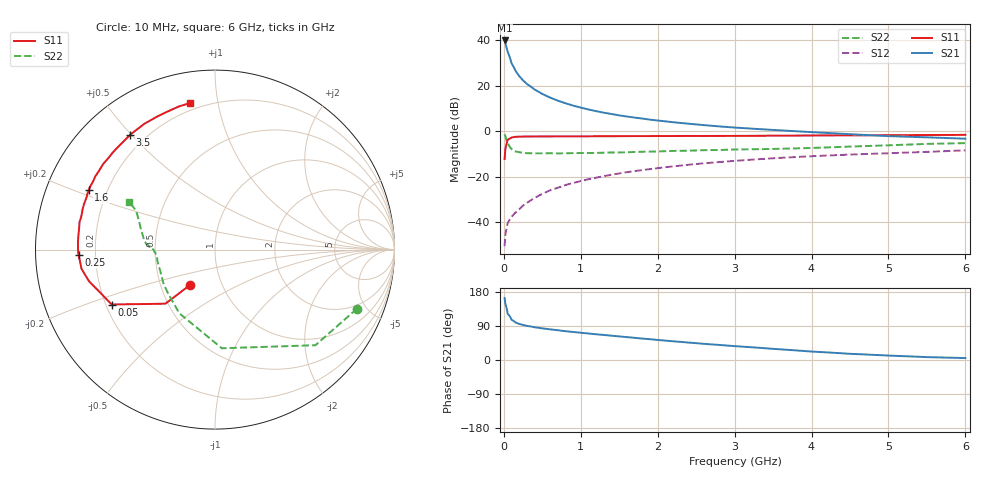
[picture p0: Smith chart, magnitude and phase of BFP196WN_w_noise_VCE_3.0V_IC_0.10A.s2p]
! Infineon Technologies  Discrete & RF Semiconductors
! BFP196WN
! VCE =  3.0 V,  IC = 0.10 A
! Common Emitter S-Parameters:  Jan 2017
# GHz  S  MA  R  50
!  f  S11  S21  S12  S22
! GHz  MAG  ANG  MAG  ANG  MAG  ANG  MAG  ANG
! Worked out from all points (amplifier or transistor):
!   77 points, 10 MHz to 6 GHz, reference 50 ohm
!   highest |S21| = 39.8 dB at 10 MHz (marker M1)
!   |S21| within 3 dB of that: start of sweep to 34.18 MHz
!   unconditionally stable (mu >= 1): 393.8 MHz to 2.717 GHz
!   at 130 MHz: K = 0.75, MSG = 32.2 dB, |S12| = -36.5 dB
!   at 2.2 GHz: K = 1.02, MAG = 8.9 dB, |S12| = -15.5 dB
!   at 6 GHz: K = 0.93, MSG = 2.6 dB, |S12| = -8.4 dB
!   lowest NFmin = 1.80 dB at 450 MHz
!   S11 on the Smith chart (normalised r, x): 10 MHz: 0.70, -0.30; 50 MHz: 0.22, -0.24; 250 MHz: 0.14, -0.02; 1.6 GHz: 0.13, +0.22; 3.5 GHz: 0.14, +0.50; 6 GHz: 0.16, +0.83
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0.01  0.2444 -125.4  97.49 163.4  0.003 79.1  0.8569 -22.6
0.02  0.4086 -132.5  84.88 147.9  0.0054 68.0  0.7726 -43.6
0.05  0.6517 -152.0  54.95 121.7  0.0096 53.5  0.5511 -86.0
0.1  0.7242 -166.0  30.86 106.1  0.0132 54.5  0.4067 -119.2
0.15  0.7514 -171.8  21.28 99.3  0.0163 59.3  0.3589 -136.3
0.2  0.7556 -175.4  16.08 95.2  0.0193 64.1  0.3448 -146.1
0.25  0.761 -177.8  12.94 92.3  0.0233 65.1  0.3352 -151.9
0.3  0.7631 -179.8  10.83 90.1  0.0268 67.7  0.3286 -157.0
0.4  0.7645 177.1  8.164 86.4  0.0341 70.4  0.3257 -162.5
0.5  0.7652 174.7  6.537 83.5  0.0422 71.7  0.3265 -166.4
0.6  0.7655 172.4  5.461 80.9  0.0502 72.1  0.3273 -169.3
0.7  0.7669 170.6  4.674 78.6  0.0572 73.0  0.3252 -171.4
0.9  0.7675 166.5  3.634 74.0  0.0731 72.2  0.3293 -174.1
1.1  0.7713 163.1  2.99 69.9  0.0882 71.5  0.332 -176.6
1.3  0.7724 159.7  2.54 66.1  0.1028 70.1  0.3367 -177.7
1.6  0.7777 154.9  2.091 60.4  0.1259 68.2  0.3439 -180.0
2.1  0.7813 147.1  1.64 51.2  0.1616 64.1  0.3635 177.3
3.1  0.7876 132.2  1.17 35.3  0.229 54.9  0.3979 172.6
3.5  0.7958 126.4  1.063 29.4  0.2543 51.4  0.4066 169.8
4.1  0.8042 118.0  0.932 21.2  0.2867 45.8  0.4337 163.3
5.1  0.816 107.2  0.768 10.9  0.3324 37.9  0.4966 153.4
6  0.8285 99.6  0.683 5.1  0.3788 31.8  0.5465 151.3
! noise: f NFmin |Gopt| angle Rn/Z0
0.45  1.8  0.6  -174  0.06
0.9  1.96  0.61  -167  0.08
1.9  2.98  0.71  -146  0.26
2.4  3.72  0.72  -137  0.44
